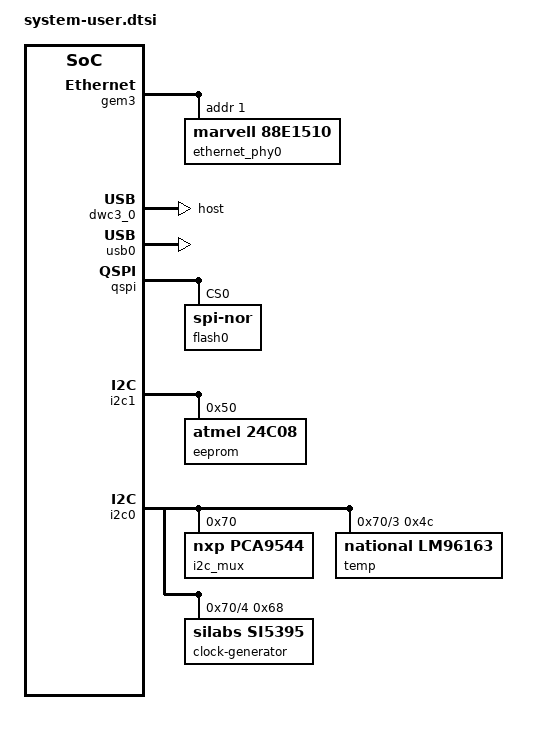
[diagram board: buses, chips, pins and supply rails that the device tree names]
/ {
	chosen {
		bootargs = " earlycon console=ttyPS0,115200 clk_ignore_unused root=/dev/ram0 rw";
		stdout-path = "serial0:115200n8";
		xlnx,eeprom = &eeprom;
	};
};
&gem3 {
	local-mac-address = [08 00 56 00 00 00];
	status = "okay";
	ethernet_phy0: ethernet-phy@0 {
		compatible = "marvell,88e1510";
		device_type = "ethernet-phy";
		reg = <1>;
	};
};
&sdhci1 {
	disable-wp;
	no-1-8-v;
};
/ {
	axi_stream_dma_0@b0000000 {
		compatible = "axi_stream_dma";
		reg = <0x0 0xb0000000 0x0 0x10000>;
		interrupts = <0 89 4>;
		interrupt-parent = <&gic>;
	};
};
/* USB  */
&dwc3_0 {
	status = "okay";
	dr_mode = "host";
	maximum-speed = "high-speed";
	/delete-property/phy-names;
	/delete-property/phys;
	/delete-property/snps,usb3_lpm_capable;
	snps,dis_u2_susphy_quirk;
	snps,dis_u3_susphy_quirk;
};

&usb0 {
	status = "okay";
	/delete-property/ clocks;
	/delete-property/ clock-names;
	clocks = <0x3 0x20>;
	clock-names = "bus_clk";
};

/* QSPI PHY */
&qspi {
	#address-cells = <1>;
	#size-cells = <0>;
	status = "okay";
	flash0: flash@0 {
		compatible = "jedec,spi-nor";
		reg = <0x0>;
		#address-cells = <1>;
		#size-cells = <1>;
	};
};

// This I2C Port can be found in the RFSoC Module TE0835 to control PLL chip SI5395A-A-GM on the
// RFSoC Module.

&i2c1 {
	eeprom: eeprom@50 {
		compatible = "atmel,24c08";
		reg = <0x50>;
	};
};

// This I2C Port connects RFSoC FPGA on the RFSoC Module and I2C multiplexer Chip on the carrier
// board through B2B connector.

&i2c0 {

	// This I2C multiplexer chip can be found in TEB0835 carrier board.

	i2c_mux@70 { /* TCA9544APWR U7 in the carrier board TEB0835 */
		compatible = "nxp,pca9544";
		#address-cells = <1>;
		#size-cells = <0>;
		reg = <0x70>;

		i2c@0 { /* FireFly_B*/
			#address-cells = <1>;
			#size-cells = <0>;
			reg = <0>;
		};
		i2c@1 { /* FireFly_A*/
		#address-cells = <1>;
		#size-cells = <0>;
		reg = <1>;
		};
		i2c@3 { /* LM96163CISD/NOPB U9 FAN Controller in the carrier board TEB0835*/
			#address-cells = <1>;
			#size-cells = <0>;
			reg = <3>;
			temp@4c {/* lm96163 - u9*/
				compatible = "national,lm96163";
				reg = <0x4c>;
			};
			};
			i2c@4 { /* SI5395A-A-GM U5 DPLL in the carrier board TEB0835*/
				#address-cells = <1>;
				#size-cells = <0>;
				reg = <4>;
				clock-generator@68{/* SI5395A-A-GM U5 DPLL in the carrier board TEB0835 */
					compatible = "silabs,si5395";
					reg = <0x68>;
			};
		};
	};
};
